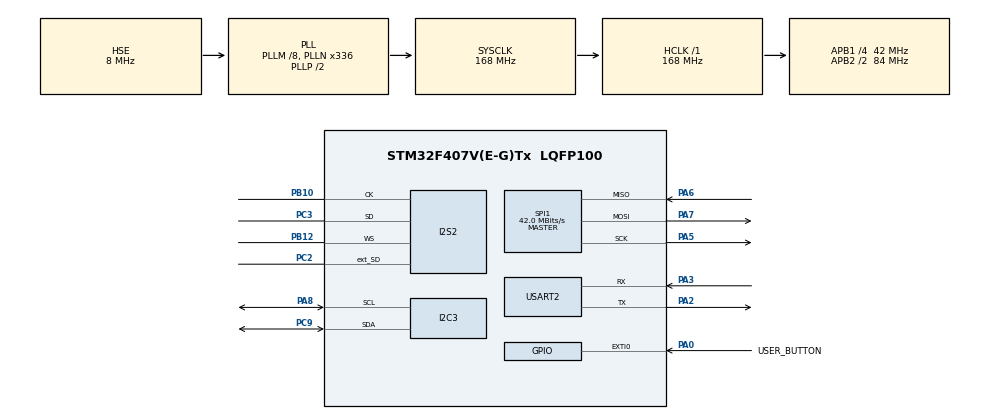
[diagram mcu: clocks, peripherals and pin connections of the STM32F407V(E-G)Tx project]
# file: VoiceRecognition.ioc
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Mcu.Family=STM32F4
PC3.Mode=Full_Duplex_Master
RCC.PLLSourceVirtual=RCC_PLLSOURCE_HSE
I2C3.I2C_Mode=I2C_Fast
I2S2.AudioFreq=I2S_AUDIOFREQ_16K
PA6.Mode=Full_Duplex_Master
PH0-OSC_IN.Signal=RCC_OSC_IN
RCC.CortexFreq_Value=168000000
PA7.Mode=Full_Duplex_Master
I2S2.Instance=SPI$Index
SPI1.VirtualType=VM_MASTER
PB10.Mode=Full_Duplex_Master
PC2.Signal=I2S2_ext_SD
PC2.Mode=Full_Duplex_Master
I2S2.CPOL=I2S_CPOL_HIGH
RCC.APB1CLKDivider=RCC_HCLK_DIV4
NVIC.USART2_IRQn=true\:0\:0\:false\:false\:true\:true\:true
RCC.SYSCLKSource=RCC_SYSCLKSOURCE_PLLCLK
ProjectManager.StackSize=0x9000
PA0-WKUP.GPIO_Label=USER_BUTTON
PA0-WKUP.Signal=GPXTI0
PA3.Mode=Asynchronous
ProjectManager.TargetToolchain=MDK-ARM V5.27
SPI1.Direction=SPI_DIRECTION_2LINES
RCC.HCLKFreq_Value=168000000
RCC.APB2TimFreq_Value=168000000
I2S2.VirtualMode=I2S_MODE_MASTER
SPI1.CalculateBaudRate=42.0 MBits/s
PC3.Signal=I2S2_SD
RCC.LSE_VALUE=32768
RCC.AHBFreq_Value=168000000
PH0-OSC_IN.Mode=HSE-External-Oscillator
PB10.Signal=I2S2_CK
PA5.Signal=SPI1_SCK
RCC.HSE_VALUE=8000000
board=custom
RCC.VCOOutputFreq_Value=336000000
RCC.APB2Freq_Value=84000000
SPI1.Mode=SPI_MODE_MASTER
PC9.Mode=I2C
PH1-OSC_OUT.Signal=RCC_OSC_OUT
PA8.Signal=I2C3_SCL
Mcu.Name=STM32F407V(E-G)Tx
PA2.Signal=USART2_TX
I2S2.FullDuplexMode=I2S_FULLDUPLEXMODE_ENABLE
PH1-OSC_OUT.Mode=HSE-External-Oscillator
RCC.48MHZClocksFreq_Value=84000000
NVIC.EXTI0_IRQn=true\:15\:0\:true\:false\:true\:true\:true
RCC.SYSCLKFreq_VALUE=168000000
Mcu.Package=LQFP100
PA6.Signal=SPI1_MISO
PB12.Mode=Full_Duplex_Master
I2S2.ErrorAudioFreq=-0.79 %
USART2.VirtualMode=VM_ASYNC
I2S2.Mode=I2S_MODE_MASTER_RX
ProjectManager.HeapSize=0x3000
RCC.HSI_VALUE=16000000
NVIC.PriorityGroup=NVIC_PRIORITYGROUP_4
RCC.APB2CLKDivider=RCC_HCLK_DIV2
RCC.PLLM=8
RCC.PLLN=336
RCC.APB1TimFreq_Value=84000000
PA2.Mode=Asynchronous
PA8.Mode=I2C
PC9.Signal=I2C3_SDA
RCC.APB1Freq_Value=42000000
SPI1.BaudRatePrescaler=SPI_BAUDRATEPRESCALER_2
RCC.PLLI2SR=6
I2S2.RealAudioFreq=15.873 KHz
I2S2.Standard=I2S_STANDARD_LSB
PB12.Signal=I2S2_WS
PA3.Signal=USART2_RX
PA5.Mode=Full_Duplex_Master
PA7.Signal=SPI1_MOSI

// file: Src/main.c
/* USER CODE BEGIN Header */
/**
  ******************************************************************************
  * @file           : main.c
  * @brief          : Main program body
  ******************************************************************************
  * @attention
  *
  * <h2><center>&copy; Copyright (c) 2020 STMicroelectronics.
  * All rights reserved.</center></h2>
  *
  * This software component is licensed by ST under BSD 3-Clause license,
  * the "License"; You may not use this file except in compliance with the
  * License. You may obtain a copy of the License at:
  *                        opensource.org/licenses/BSD-3-Clause
  *
  ******************************************************************************
  */
/* USER CODE END Header */

#include "main.h"

/* USER CODE BEGIN Includes */
#include "fonts.h"
#include "ssd1306.h"
#include "bitmap.h"
#include "string.h"

/* USER CODE END Includes */

/* USER CODE BEGIN PD */
#define PASSWORD BON
#define DISTANCE 8.0f
/* USER CODE END PD */

I2C_HandleTypeDef hi2c3;

I2S_HandleTypeDef hi2s2;

SPI_HandleTypeDef hspi1;

UART_HandleTypeDef huart2;

/* USER CODE BEGIN PV */
__IO uint8_t UserPressButton = 0;
/* Wave Player Pause/Resume Status. Defined as external in waveplayer.c file */
__IO uint32_t PauseResumeStatus = IDLE_STATUS;
/* Counter for User button presses*/
uint32_t PressCount = 0;
uint8_t  my_word;
extern const char word_string[][10];
float dist_buf[WORD_NUM];
float my_buf[OUT_BUFFER_SIZE];
/* USER CODE END PV */

void SystemClock_Config(void);
static void MX_GPIO_Init(void);
static void MX_I2S2_Init(void);
static void MX_SPI1_Init(void);
static void MX_I2C3_Init(void);
static void MX_USART2_UART_Init(void);

/* USER CODE BEGIN 0 */
void oled_putchar(char *str, FontDef_t font, uint16_t x, const unsigned char *logo)
{
	SSD1306_Clear();
	if(logo != NULL)
	{
		SSD1306_DrawBitmap(0, 0, logo, 128, 32, 1);
		x = (127 - 32 - font.FontWidth * strlen(str)) / 2 + 32;
	}
	SSD1306_GotoXY(x,(32 - font.FontHeight) / 2);
	SSD1306_Puts(str, &font, 1);
	SSD1306_UpdateScreen();
}

void leds_off(void)
{
	BSP_LED_Off(LED3);
  BSP_LED_Off(LED4);
  BSP_LED_Off(LED5);
  BSP_LED_Off(LED6);
}
/* USER CODE END 0 */

int main(void)
{

  /* MCU Configuration--------------------------------------------------------*/

  /* Reset of all peripherals, Initializes the Flash interface and the Systick. */
  HAL_Init();

  /* USER CODE BEGIN Init */
  /* Configure LED3, LED4, LED5 and LED6 */
  BSP_LED_Init(LED3);
  BSP_LED_Init(LED4);
  BSP_LED_Init(LED5);
  BSP_LED_Init(LED6);
  /* USER CODE END Init */

  /* Configure the system clock */
  SystemClock_Config();

  /* Initialize all configured peripherals */
  MX_GPIO_Init();
  MX_I2S2_Init();
  MX_SPI1_Init();
  MX_I2C3_Init();
  MX_USART2_UART_Init();
  /* USER CODE BEGIN 2 */

  /* Configure USER Button */
	SSD1306_Init();
  BSP_PB_Init(BUTTON_KEY, BUTTON_MODE_EXTI);
  if(BSP_AUDIO_IN_Init(DEFAULT_AUDIO_IN_FREQ, DEFAULT_AUDIO_IN_BIT_RESOLUTION, DEFAULT_AUDIO_IN_CHANNEL_NBR) != AUDIO_OK)
  {
    /* Record Error */
    Error_Handler();
  }
	oled_putchar("PASSWORD", Font_11x18, 0, logoLock2);
	while(!UserPressButton) leds_off();
	oled_putchar("****", Font_16x26, 0, logoLock2);
	while(voice_recognition(dist_buf, DISTANCE, my_buf) != PASSWORD)
	{
			oled_putchar("WRONG PASSWORD", Font_7x10, 15, NULL);
		  HAL_Delay(500);
			oled_putchar("PASSWORD", Font_11x18, 0, logoLock2);
		  while(!UserPressButton) leds_off();
	    oled_putchar("****", Font_16x26, 0, logoLock2);
	}
	oled_putchar("HELLO HUNG", Font_11x18, 9, NULL);
	SSD1306_ScrollRight(0x00, 0x0f);
	while (!UserPressButton) Toggle_Leds();
	leds_off();
	SSD1306_Stopscroll();

  /* USER CODE END 2 */

  /* Infinite loop */
  /* USER CODE BEGIN WHILE */
  while (1)
  {
		oled_putchar("RECORDING..", Font_7x10, 0, logoMicro);
		UserPressButton = 0;
    my_word = voice_recognition(dist_buf, DISTANCE*2, my_buf);
	  if(HAL_UART_Transmit(&huart2, &my_word, 1, 1000) != HAL_OK)
		{
			oled_putchar("ERROR", Font_16x26, 0, NULL);
		}
		else oled_putchar((char*)word_string[my_word], Font_11x18, 0, logoMicro);
    UserPressButton = 0;
    while (!UserPressButton) Toggle_Leds(); leds_off();
		my_word  = UNKNOWN;

    /* USER CODE END WHILE */

  }
}

void SystemClock_Config(void)
{
  RCC_OscInitTypeDef RCC_OscInitStruct = {0};
  RCC_ClkInitTypeDef RCC_ClkInitStruct = {0};
  RCC_PeriphCLKInitTypeDef PeriphClkInitStruct = {0};

  /** Configure the main internal regulator output voltage
  */
  __HAL_RCC_PWR_CLK_ENABLE();
  __HAL_PWR_VOLTAGESCALING_CONFIG(PWR_REGULATOR_VOLTAGE_SCALE1);
  /** Initializes the CPU, AHB and APB busses clocks
  */
  RCC_OscInitStruct.OscillatorType = RCC_OSCILLATORTYPE_HSE;
  RCC_OscInitStruct.HSEState = RCC_HSE_ON;
  RCC_OscInitStruct.PLL.PLLState = RCC_PLL_ON;
  RCC_OscInitStruct.PLL.PLLSource = RCC_PLLSOURCE_HSE;
  RCC_OscInitStruct.PLL.PLLM = 8;
  RCC_OscInitStruct.PLL.PLLN = 336;
  RCC_OscInitStruct.PLL.PLLP = RCC_PLLP_DIV2;
  RCC_OscInitStruct.PLL.PLLQ = 4;
  if (HAL_RCC_OscConfig(&RCC_OscInitStruct) != HAL_OK)
  {
    Error_Handler();
  }
  /** Initializes the CPU, AHB and APB busses clocks
  */
  RCC_ClkInitStruct.ClockType = RCC_CLOCKTYPE_HCLK|RCC_CLOCKTYPE_SYSCLK
                              |RCC_CLOCKTYPE_PCLK1|RCC_CLOCKTYPE_PCLK2;
  RCC_ClkInitStruct.SYSCLKSource = RCC_SYSCLKSOURCE_PLLCLK;
  RCC_ClkInitStruct.AHBCLKDivider = RCC_SYSCLK_DIV1;
  RCC_ClkInitStruct.APB1CLKDivider = RCC_HCLK_DIV4;
  RCC_ClkInitStruct.APB2CLKDivider = RCC_HCLK_DIV2;

  if (HAL_RCC_ClockConfig(&RCC_ClkInitStruct, FLASH_LATENCY_5) != HAL_OK)
  {
    Error_Handler();
  }
  PeriphClkInitStruct.PeriphClockSelection = RCC_PERIPHCLK_I2S;
  PeriphClkInitStruct.PLLI2S.PLLI2SN = 192;
  PeriphClkInitStruct.PLLI2S.PLLI2SR = 6;
  if (HAL_RCCEx_PeriphCLKConfig(&PeriphClkInitStruct) != HAL_OK)
  {
    Error_Handler();
  }
}

static void MX_I2C3_Init(void)
{

  hi2c3.Instance = I2C3;
  hi2c3.Init.ClockSpeed = 400000;
  hi2c3.Init.DutyCycle = I2C_DUTYCYCLE_2;
  hi2c3.Init.OwnAddress1 = 0;
  hi2c3.Init.AddressingMode = I2C_ADDRESSINGMODE_7BIT;
  hi2c3.Init.DualAddressMode = I2C_DUALADDRESS_DISABLE;
  hi2c3.Init.OwnAddress2 = 0;
  hi2c3.Init.GeneralCallMode = I2C_GENERALCALL_DISABLE;
  hi2c3.Init.NoStretchMode = I2C_NOSTRETCH_DISABLE;
  if (HAL_I2C_Init(&hi2c3) != HAL_OK)
  {
    Error_Handler();
  }

}

static void MX_I2S2_Init(void)
{

  hi2s2.Instance = SPI2;
  hi2s2.Init.Mode = I2S_MODE_MASTER_RX;
  hi2s2.Init.Standard = I2S_STANDARD_LSB;
  hi2s2.Init.DataFormat = I2S_DATAFORMAT_16B;
  hi2s2.Init.MCLKOutput = I2S_MCLKOUTPUT_DISABLE;
  hi2s2.Init.AudioFreq = I2S_AUDIOFREQ_16K;
  hi2s2.Init.CPOL = I2S_CPOL_HIGH;
  hi2s2.Init.ClockSource = I2S_CLOCK_PLL;
  hi2s2.Init.FullDuplexMode = I2S_FULLDUPLEXMODE_ENABLE;
  if (HAL_I2S_Init(&hi2s2) != HAL_OK)
  {
    Error_Handler();
  }

}

static void MX_SPI1_Init(void)
{

  /* SPI1 parameter configuration*/
  hspi1.Instance = SPI1;
  hspi1.Init.Mode = SPI_MODE_MASTER;
  hspi1.Init.Direction = SPI_DIRECTION_2LINES;
  hspi1.Init.DataSize = SPI_DATASIZE_8BIT;
  hspi1.Init.CLKPolarity = SPI_POLARITY_LOW;
  hspi1.Init.CLKPhase = SPI_PHASE_1EDGE;
  hspi1.Init.NSS = SPI_NSS_SOFT;
  hspi1.Init.BaudRatePrescaler = SPI_BAUDRATEPRESCALER_2;
  hspi1.Init.FirstBit = SPI_FIRSTBIT_MSB;
  hspi1.Init.TIMode = SPI_TIMODE_DISABLE;
  hspi1.Init.CRCCalculation = SPI_CRCCALCULATION_DISABLE;
  hspi1.Init.CRCPolynomial = 10;
  if (HAL_SPI_Init(&hspi1) != HAL_OK)
  {
    Error_Handler();
  }

}

static void MX_USART2_UART_Init(void)
{

  huart2.Instance = USART2;
  huart2.Init.BaudRate = 115200;
  huart2.Init.WordLength = UART_WORDLENGTH_8B;
  huart2.Init.StopBits = UART_STOPBITS_1;
  huart2.Init.Parity = UART_PARITY_NONE;
  huart2.Init.Mode = UART_MODE_TX_RX;
  huart2.Init.HwFlowCtl = UART_HWCONTROL_NONE;
  huart2.Init.OverSampling = UART_OVERSAMPLING_16;
  if (HAL_UART_Init(&huart2) != HAL_OK)
  {
    Error_Handler();
  }

}

static void MX_GPIO_Init(void)
{
  GPIO_InitTypeDef GPIO_InitStruct = {0};

  /* GPIO Ports Clock Enable */
  __HAL_RCC_GPIOH_CLK_ENABLE();
  __HAL_RCC_GPIOC_CLK_ENABLE();
  __HAL_RCC_GPIOA_CLK_ENABLE();
  __HAL_RCC_GPIOB_CLK_ENABLE();

  /*Configure GPIO pin : USER_BUTTON_Pin */
  GPIO_InitStruct.Pin = USER_BUTTON_Pin;
  GPIO_InitStruct.Mode = GPIO_MODE_IT_RISING;
  GPIO_InitStruct.Pull = GPIO_NOPULL;
  HAL_GPIO_Init(USER_BUTTON_GPIO_Port, &GPIO_InitStruct);

  /* EXTI interrupt init*/
  HAL_NVIC_SetPriority(EXTI0_IRQn, 15, 0);
  HAL_NVIC_EnableIRQ(EXTI0_IRQn);

}

/* USER CODE BEGIN 4 */
/**
  * @brief  EXTI line detection callbacks.
  * @param  GPIO_Pin: Specifies the pins connected EXTI line
  * @retval None
  */
void HAL_GPIO_EXTI_Callback(uint16_t GPIO_Pin)
{
	static uint32_t last_tick = 0;
  if (KEY_BUTTON_PIN == GPIO_Pin)
  {
		if((HAL_GetTick() - last_tick) > 10)
		{
			last_tick = HAL_GetTick();
			while (BSP_PB_GetState(BUTTON_KEY) != RESET) {};
      UserPressButton = 1;
		}
  }
}

/**
  * @brief  Toggle LEDs
  * @param  None
  * @retval None
  */
void Toggle_Leds(void)
{
  BSP_LED_Toggle(LED4);
  HAL_Delay(100);
  BSP_LED_Toggle(LED5);
  HAL_Delay(100);
}
/* USER CODE END 4 */

void Error_Handler(void)
{
}

/************************ (C) COPYRIGHT STMicroelectronics *****END OF FILE****/
